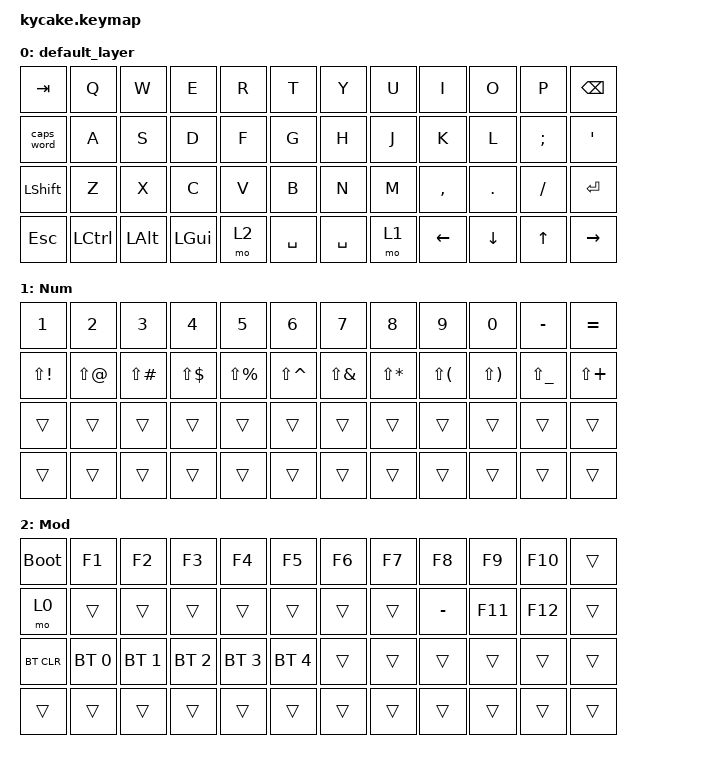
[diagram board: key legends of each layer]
/*
 * Copyright (c) 2021 The ZMK Contributors
 *
 * SPDX-License-Identifier: MIT
 */

#include <behaviors.dtsi>
#include <dt-bindings/zmk/bt.h>
#include <dt-bindings/zmk/keys.h>

#define DEFAULT 0
#define NUM 1
#define MOD 2

/ {
    keymap {
        compatible = "zmk,keymap";

        default_layer {
            bindings = <
&kp TAB     &kp Q      &kp W     &kp E     &kp R  &kp T      &kp Y      &kp U  &kp I      &kp O     &kp P      &kp BSPC
&caps_word  &kp A      &kp S     &kp D     &kp F  &kp G      &kp H      &kp J  &kp K      &kp L     &kp SEMI   &kp SQT
&kp LSHFT   &kp Z      &kp X     &kp C     &kp V  &kp B      &kp N      &kp M  &kp COMMA  &kp DOT   &kp SLASH  &kp ENTER
&kp ESC     &kp LCTRL  &kp LALT  &kp LGUI  &mo 2  &kp SPACE  &kp SPACE  &mo 1  &kp LEFT   &kp DOWN  &kp UP     &kp RIGHT
            >;
        };

        Num {
            bindings = <
&kp N1        &kp N2      &kp N3         &kp N4        &kp N5         &kp N6         &kp N7        &kp N8        &kp N9        &kp N0        &kp MINUS      &kp EQUAL
&kp LS(EXCL)  &kp LS(AT)  &kp LS(POUND)  &kp LS(DLLR)  &kp LS(PRCNT)  &kp LS(CARET)  &kp LS(AMPS)  &kp LS(STAR)  &kp LS(LPAR)  &kp LS(RPAR)  &kp LS(UNDER)  &kp LS(PLUS)
&trans        &trans      &trans         &trans        &trans         &trans         &trans        &trans        &trans        &trans        &trans         &trans
&trans        &trans      &trans         &trans        &trans         &trans         &trans        &trans        &trans        &trans        &trans         &trans
            >;
        };

        Mod {
            bindings = <
&bootloader  &kp F1        &kp F2        &kp F3        &kp F4        &kp F5        &kp F6  &kp F7  &kp F8     &kp F9   &kp F10  &trans
&mo 0        &trans        &trans        &trans        &trans        &trans        &trans  &trans  &kp MINUS  &kp F11  &kp F12  &trans
&bt BT_CLR   &bt BT_SEL 0  &bt BT_SEL 1  &bt BT_SEL 2  &bt BT_SEL 3  &bt BT_SEL 4  &trans  &trans  &trans     &trans   &trans   &trans
&trans       &trans        &trans        &trans        &trans        &trans        &trans  &trans  &trans     &trans   &trans   &trans
            >;
        };
    };
};
